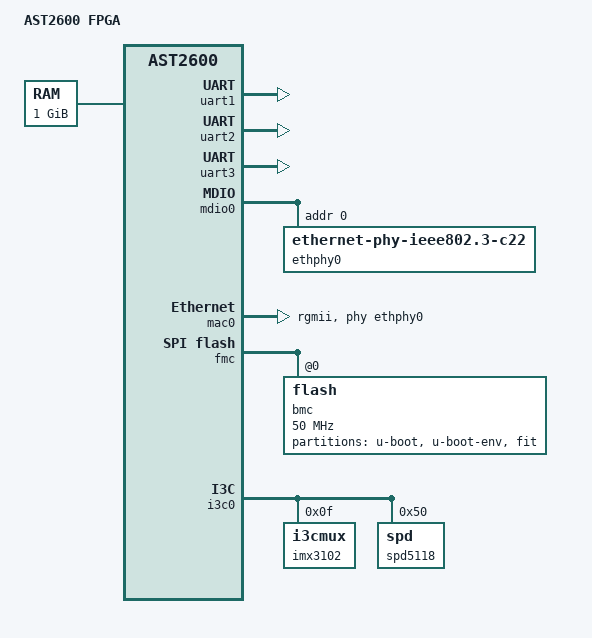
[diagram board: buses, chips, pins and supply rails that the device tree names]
// SPDX-License-Identifier: GPL-2.0+
/dts-v1/;

#include "aspeed-g6.dtsi"

/ {
	model = "AST2600 FPGA";
	compatible = "aspeed,ast2600";

	aliases {
		serial0 = &uart1;
		serial1 = &uart2;
		serial2 = &uart3;
		serial3 = &uart4;
		serial4 = &uart5;
		serial5 = &uart6;
		serial6 = &uart7;
		serial7 = &uart8;
		serial8 = &uart9;
		serial9 = &uart10;
		serial10 = &uart11;
		serial11 = &uart12;
		serial12 = &uart13;
	};

	chosen {
		stdout-path = &uart5;
		bootargs = "console=ttyS4,115200n8 root=/dev/ram rw init=/linuxrc";
	};

	cpus {
		CPU0: cpu@0 {
			clock-frequency = <0x2FAF080>;
		};

		CPU1: cpu@1 {
			clock-frequency = <0x2FAF080>;
		};
	};

	timer {
		clock-frequency = <0x17d7840>;
	};

	memory@80000000 {
		device_type = "memory";
		reg = <0x80000000 0x40000000>;
	};

	reserved-memory {
		#address-cells = <1>;
		#size-cells = <1>;
		ranges;

		gfx_memory: framebuffer {
			size = <0x01000000>;
			alignment = <0x01000000>;
			compatible = "shared-dma-pool";
			reusable;
		};

		video_memory: video {
			size = <0x04000000>;
			alignment = <0x01000000>;
			compatible = "shared-dma-pool";
			no-map;
		};

		ssp_memory: ssp_memory {
			size = <0x00200000>;
			alignment = <0x00100000>;
			compatible = "shared-dma-pool";
			no-map;
		};

	};
};

&uart1 {
	status = "okay";
};

&uart2 {
	status = "okay";
};

&uart3 {
	status = "okay";
};

&mdio0 {
	status = "okay";

	ethphy0: ethernet-phy@0 {
		compatible = "ethernet-phy-ieee802.3-c22";
		reg = <0>;
	};
};

&mac0 {
	status = "okay";
	phy-mode = "rgmii";
	phy-handle = <&ethphy0>;
};

&fmc {
	status = "okay";
	flash@0 {
		status = "okay";
		m25p,fast-read;
		label = "bmc";
		spi-max-frequency = <50000000>;

		partitions {
			compatible = "fixed-partitions";
			#address-cells = <1>;
			#size-cells = <1>;

			u-boot@0 {
				reg = <0x0 0x90000>;
				label = "u-boot";
			};
			
			u-boot-env@e0000 {
				reg = <0x90000 0x10000>;
				label = "u-boot-env";
			};

			fit@100000 {
				reg = <0xa0000 0x1f60000>;
				label = "fit";
			};
		};
	};
};

&i3c0 {
	status = "okay";
	jdec-spd;
	/* IDT IMX3102 multiplexer w/ thermal sensor */
	imx3102: i3cmux@0f,3C000000000 {
		reg = <0x0f 0x3C0 0x00000000>;
		assigned-address = <0x0f>;
	};

	/* Renesas SPD5118 */
	spd5118: spd@50,3C000000001 {
		reg = <0x50 0x3C0 0x00000001>;
		assigned-address = <0x50>;
	};
};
